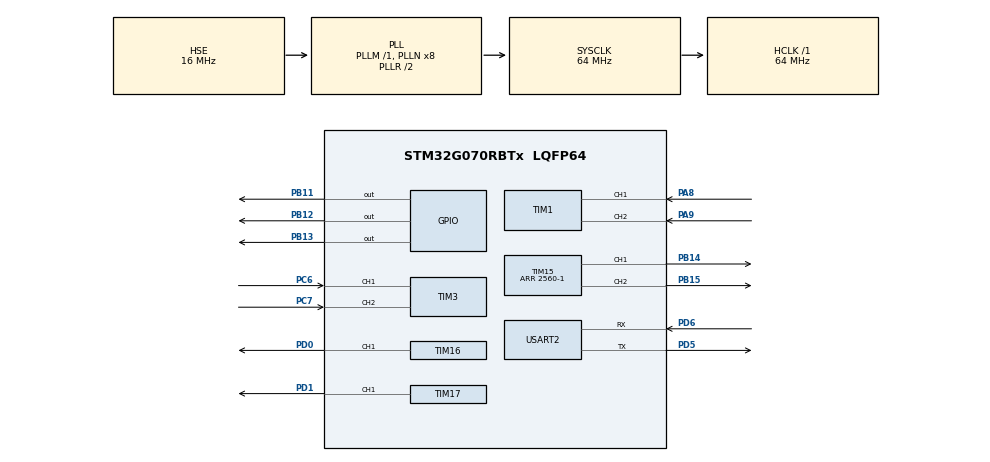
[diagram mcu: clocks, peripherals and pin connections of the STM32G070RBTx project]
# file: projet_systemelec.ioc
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Mcu.Family=STM32G0
Mcu.Name=STM32G070RBTx
Mcu.Package=LQFP64
NVIC.TIM1_BRK_UP_TRG_COM_IRQn=true\:0\:0\:false\:false\:true\:true\:true\:true
NVIC.TIM3_IRQn=true\:0\:0\:false\:false\:true\:true\:true\:true
NVIC.TIM7_IRQn=true\:0\:0\:false\:false\:true\:true\:true\:true
NVIC.USART2_IRQn=true\:0\:0\:false\:false\:true\:true\:true\:true
PA13.Mode=Serial_Wire
PA13.Signal=SYS_SWDIO
PA14-BOOT0.Mode=Serial_Wire
PA14-BOOT0.Signal=SYS_SWCLK
PA8.Signal=S_TIM1_CH1
PA9.Signal=S_TIM1_CH2
PB11.Signal=GPIO_Output
PB12.Signal=GPIO_Output
PB13.Signal=GPIO_Output
PB14.Signal=S_TIM15_CH1
PB15.Signal=S_TIM15_CH2
PC14-OSC32_IN\ (PC14).Mode=LSE-External-Oscillator
PC14-OSC32_IN\ (PC14).Signal=RCC_OSC32_IN
PC15-OSC32_OUT\ (PC15).Mode=LSE-External-Oscillator
PC15-OSC32_OUT\ (PC15).Signal=RCC_OSC32_OUT
PC6.Signal=S_TIM3_CH1
PC7.Signal=S_TIM3_CH2
PD0.Signal=S_TIM16_CH1
PD1.Signal=S_TIM17_CH1
PD5.Mode=Asynchronous
PD5.Signal=USART2_TX
PD6.Mode=Asynchronous
PD6.Signal=USART2_RX
PF0-OSC_IN\ (PF0).Mode=HSE-External-Oscillator
PF0-OSC_IN\ (PF0).Signal=RCC_OSC_IN
PF1-OSC_OUT\ (PF1).Mode=HSE-External-Oscillator
PF1-OSC_OUT\ (PF1).Signal=RCC_OSC_OUT
ProjectManager.HeapSize=0x200
ProjectManager.StackSize=0x400
ProjectManager.TargetToolchain=STM32CubeIDE
RCC.ADCFreq_Value=64000000
RCC.AHBFreq_Value=64000000
RCC.CortexFreq_Value=64000000
RCC.EXTERNAL_CLOCK_VALUE=48000
RCC.HCLKFreq_Value=64000000
RCC.HSE_VALUE=16000000
RCC.HSI_VALUE=16000000
RCC.PLLSourceVirtual=RCC_PLLSOURCE_HSE
RCC.SYSCLKFreq_VALUE=64000000
RCC.SYSCLKSource=RCC_SYSCLKSOURCE_PLLCLK
RCC.VCOOutputFreq_Value=128000000
SH.S_TIM15_CH1.0=TIM15_CH1,PWM Generation1 CH1
SH.S_TIM15_CH2.0=TIM15_CH2,PWM Generation2 CH2
SH.S_TIM16_CH1.0=TIM16_CH1,PWM Generation1 CH1
SH.S_TIM17_CH1.0=TIM17_CH1,PWM Generation1 CH1
SH.S_TIM1_CH1.0=TIM1_CH1,Encoder_Interface
SH.S_TIM1_CH2.0=TIM1_CH2,Encoder_Interface
SH.S_TIM3_CH1.0=TIM3_CH1,Encoder_Interface
SH.S_TIM3_CH2.0=TIM3_CH2,Encoder_Interface
TIM1.AutoReloadPreload=TIM_AUTORELOAD_PRELOAD_ENABLE
TIM1.EncoderMode=TIM_ENCODERMODE_TI12
TIM15.Channel-PWM\ Generation1\ CH1=TIM_CHANNEL_1
TIM15.Channel-PWM\ Generation2\ CH2=TIM_CHANNEL_2
TIM15.Period=2560-1
TIM16.Channel=TIM_CHANNEL_1
TIM16.Period=2560-1
TIM17.Channel=TIM_CHANNEL_1
TIM17.Period=2560-1
TIM3.AutoReloadPreload=TIM_AUTORELOAD_PRELOAD_ENABLE
TIM3.EncoderMode=TIM_ENCODERMODE_TI12
TIM7.AutoReloadPreload=TIM_AUTORELOAD_PRELOAD_ENABLE
TIM7.Period=1000-1
TIM7.Prescaler=6400-1
USART2.SwapParam=ADVFEATURE_SWAP_ENABLE
USART2.VirtualMode-Asynchronous=VM_ASYNC
VP_TIM15_VS_ClockSourceINT.Mode=Internal
VP_TIM16_VS_ClockSourceINT.Mode=Enable_Timer
VP_TIM17_VS_ClockSourceINT.Mode=Enable_Timer
VP_TIM7_VS_ClockSourceINT.Mode=Enable_Timer
board=custom

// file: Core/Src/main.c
/* USER CODE BEGIN Header */
/**
  ******************************************************************************
  * @file           : main.c
  * @brief          : Main program body
  ******************************************************************************
  * @attention
  *
  * Copyright (c) 2023 STMicroelectronics.
  * All rights reserved.
  *
  * This software is licensed under terms that can be found in the LICENSE file
  * in the root directory of this software component.
  * If no LICENSE file comes with this software, it is provided AS-IS.
  *
  ******************************************************************************
  */
/* USER CODE END Header */
#include "main.h"
#include "tim.h"
#include "usart.h"
#include "gpio.h"

/* USER CODE BEGIN Includes */
#include "shell.h"
#include <string.h>
#include <stdio.h>
#include "dcMotor.h"
/* USER CODE END Includes */

void SystemClock_Config(void);

/* USER CODE BEGIN 0 */
#ifdef __GNUC__									//串口重定�?????????????????????
#define PUTCHAR_PROTOTYPE int __io_putchar(int ch)
#else
#define PUTCHAR_PROTOTYPE int fputc(int ch, FILE *f)
#endif
PUTCHAR_PROTOTYPE
{
    HAL_UART_Transmit(&huart2 , (uint8_t *)&ch, 1, 0xFFFF);
    return ch;
}
/* USER CODE END 0 */

int main(void)
{

  /* MCU Configuration--------------------------------------------------------*/

  /* Reset of all peripherals, Initializes the Flash interface and the Systick. */
  HAL_Init();

  /* Configure the system clock */
  SystemClock_Config();

  /* Initialize all configured peripherals */
  MX_GPIO_Init();
  MX_TIM17_Init();
  MX_TIM15_Init();
  MX_TIM16_Init();
  MX_TIM1_Init();
  MX_TIM3_Init();
  MX_USART2_UART_Init();
  MX_TIM7_Init();
  /* USER CODE BEGIN 2 */
  Shell_Init();
  PIDInit();
  dcMotorInit();
/*  HAL_TIM_Base_Start_IT(&htim1);
  HAL_TIM_Base_Start_IT(&htim3);
  HAL_TIM_Base_Start_IT(&htim7);
  HAL_TIM_Encoder_Start(&htim3, TIM_CHANNEL_ALL);
  HAL_TIM_Encoder_Start(&htim1, TIM_CHANNEL_ALL);*/
  HAL_TIM_Base_Start_IT(&htim1);
  HAL_TIM_Base_Start_IT(&htim3);
  HAL_TIM_Base_Start_IT(&htim7);
  HAL_TIM_Encoder_Start(&htim3, TIM_CHANNEL_ALL);
  HAL_TIM_Encoder_Start(&htim1, TIM_CHANNEL_ALL);

  HAL_TIM_PWM_Start(&htim17, TIM_CHANNEL_1);
  HAL_TIM_PWM_Start(&htim16, TIM_CHANNEL_1);
  HAL_TIM_PWM_Start(&htim15, TIM_CHANNEL_2);
  HAL_TIM_PWM_Start(&htim15, TIM_CHANNEL_1);

  /* USER CODE END 2 */

  /* Infinite loop */
  while (1)
  {

    /* USER CODE BEGIN 3 */
      //Shell_Loop();
      moteur_controle(100,100);
    //  __HAL_TIM_SetCompare(&htim15 , TIM_CHANNEL_2, 2000);  //PB9
    //   __HAL_TIM_SetCompare(&htim15 , TIM_CHANNEL_1, 2000);  //PB15
    // __HAL_TIM_SetCompare(&htim16 , TIM_CHANNEL_1, 2559);  //PB15
	//__HAL_TIM_SetCompare(&htim17 , TIM_CHANNEL_1, 2559);  //  motor1 avancer    para为设置比较器的�??

   // printf("encoderValueNow3:%d\r\n",encoderValueNow3);
	//printf("123\r\n");
    //HAL_UART_Transmit(&huart2 ,(uint8_t*) "123\r\n", 5, 0xFFFF) ;

   // HAL_GPIO_TogglePin(GPIOB, GPIO_PIN_13);
   // HAL_Delay(1000);

/*      HAL_TIM_PWM_Start(&htim17, TIM_CHANNEL_1);
      HAL_TIM_PWM_Stop(&htim16, TIM_CHANNEL_1);
      HAL_TIM_PWM_Start(&htim15, TIM_CHANNEL_2);
      HAL_TIM_PWM_Stop(&htim15, TIM_CHANNEL_1);
      HAL_Delay(2000);*/

 /*     __HAL_TIM_SetCompare(&htim17 , TIM_CHANNEL_1, 2000);  //  motor1 avancer    para为设置比较器的�??
      __HAL_TIM_SetCompare(&htim15 , TIM_CHANNEL_2, 2000);  //motor2 avancer
      HAL_GPIO_TogglePin(GPIOB, GPIO_PIN_13);
      HAL_Delay(2000);*/

/*      HAL_TIM_PWM_Start(&htim16, TIM_CHANNEL_1);
  	  HAL_TIM_PWM_Stop(&htim17, TIM_CHANNEL_1);
  	  HAL_TIM_PWM_Stop(&htim15, TIM_CHANNEL_2);
      HAL_TIM_PWM_Start(&htim15, TIM_CHANNEL_1);
      HAL_Delay(2000);*/
  //  __HAL_TIM_SetCompare(&htim16 , TIM_CHANNEL_1, 300);  //  motor1 reculer
  //__HAL_TIM_SetCompare(&htim15 , TIM_CHANNEL_1, 300);  // motor2 reculer
   //
  }
  /* USER CODE END 3 */
}

void SystemClock_Config(void)
{
  RCC_OscInitTypeDef RCC_OscInitStruct = {0};
  RCC_ClkInitTypeDef RCC_ClkInitStruct = {0};

  /** Configure the main internal regulator output voltage
  */
  HAL_PWREx_ControlVoltageScaling(PWR_REGULATOR_VOLTAGE_SCALE1);

  /** Initializes the RCC Oscillators according to the specified parameters
  * in the RCC_OscInitTypeDef structure.
  */
  RCC_OscInitStruct.OscillatorType = RCC_OSCILLATORTYPE_HSE;
  RCC_OscInitStruct.HSEState = RCC_HSE_ON;
  RCC_OscInitStruct.PLL.PLLState = RCC_PLL_ON;
  RCC_OscInitStruct.PLL.PLLSource = RCC_PLLSOURCE_HSE;
  RCC_OscInitStruct.PLL.PLLM = RCC_PLLM_DIV1;
  RCC_OscInitStruct.PLL.PLLN = 8;
  RCC_OscInitStruct.PLL.PLLP = RCC_PLLP_DIV2;
  RCC_OscInitStruct.PLL.PLLR = RCC_PLLR_DIV2;
  if (HAL_RCC_OscConfig(&RCC_OscInitStruct) != HAL_OK)
  {
    Error_Handler();
  }

  /** Initializes the CPU, AHB and APB buses clocks
  */
  RCC_ClkInitStruct.ClockType = RCC_CLOCKTYPE_HCLK|RCC_CLOCKTYPE_SYSCLK
                              |RCC_CLOCKTYPE_PCLK1;
  RCC_ClkInitStruct.SYSCLKSource = RCC_SYSCLKSOURCE_PLLCLK;
  RCC_ClkInitStruct.AHBCLKDivider = RCC_SYSCLK_DIV1;
  RCC_ClkInitStruct.APB1CLKDivider = RCC_HCLK_DIV1;

  if (HAL_RCC_ClockConfig(&RCC_ClkInitStruct, FLASH_LATENCY_2) != HAL_OK)
  {
    Error_Handler();
  }
}

void Error_Handler(void)
{
  __disable_irq();
  while (1)
  {
  }
}
